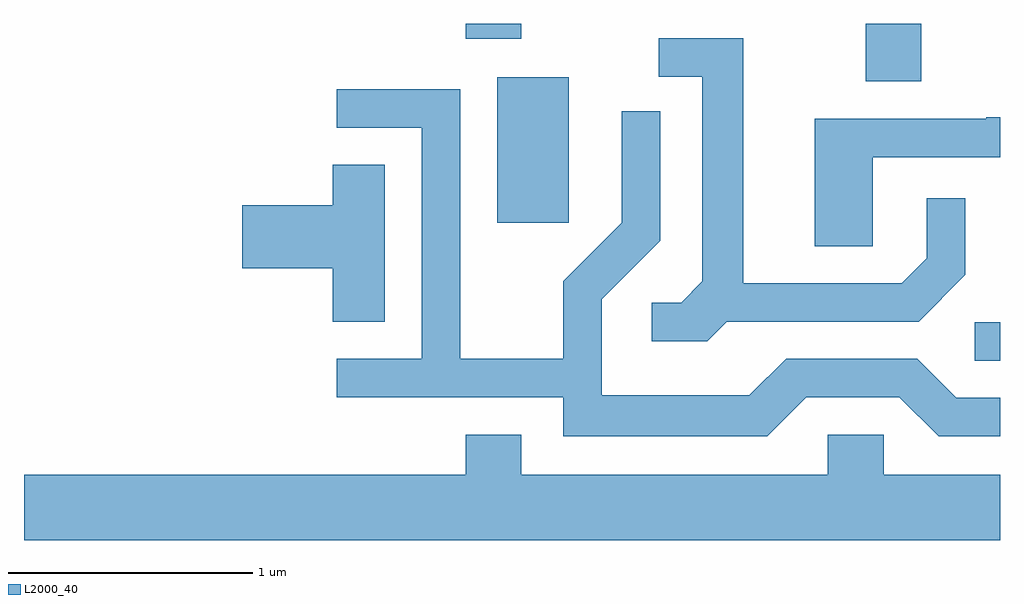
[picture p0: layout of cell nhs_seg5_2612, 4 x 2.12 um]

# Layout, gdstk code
import gdstk
lib = gdstk.Library(unit=1e-6, precision=1e-09)
def R(c, l, rs):  # rectangles x0, y0, x1, y1
    for r in rs: c.add(gdstk.rectangle(r[:2], r[2:], *l))
def P(c, l, *ps):  # polygons
    for p in ps: c.add(gdstk.Polygon(p, *l))
L2000_40 = (2000, 40)

nhs_seg5_2612 = lib.new_cell('nhs_seg5_2612')
R(nhs_seg5_2612, L2000_40, [(267.508,1408.691,267.611,1408.849), (265.551,1409.256,265.844,1409.854), (267.061,1409.836,267.289,1410.072), (265.421,1410.011,265.649,1410.072)])
P(nhs_seg5_2612, L2000_40, [(266.492,1408.851),(267.277,1408.851),(267.469,1409.044),(267.469,1409.358),(267.311,1409.358),(267.311,1409.112),(267.209,1409.009),(266.559,1409.009),(266.559,1410.014),(266.213,1410.014),(266.213,1409.856),(266.391,1409.856),(266.391,1409.017),(266.304,1408.929),(266.183,1408.929),(266.183,1408.771),(266.412,1408.771)],
  [(266.817,1408.541),(267.199,1408.541),(267.359,1408.381),(267.611,1408.381),(267.611,1408.539),(267.432,1408.539),(267.272,1408.699),(266.734,1408.699),(266.584,1408.549),(265.979,1408.549),(265.979,1408.944),(266.219,1409.184),(266.219,1409.713),(266.061,1409.713),(266.061,1409.257),(265.821,1409.017),(265.821,1408.699),(265.399,1408.699),(265.399,1409.804),(264.893,1409.804),(264.893,1409.646),(265.241,1409.646),(265.241,1408.699),(264.893,1408.699),(264.893,1408.541),(265.821,1408.541),(265.821,1408.381),(266.657,1408.381)],
  [(267.089,1409.526),(267.611,1409.526),(267.611,1409.689),(267.555,1409.689),(267.555,1409.684),(266.851,1409.684),(266.851,1409.161),(267.089,1409.161)],
  [(265.089,1409.494),(264.876,1409.494),(264.876,1409.329),(264.506,1409.329),(264.506,1409.071),(264.876,1409.071),(264.876,1408.851),(265.089,1408.851)],
  [(267.611,1408.224),(267.134,1408.224),(267.134,1408.389),(266.906,1408.389),(266.906,1408.224),(265.649,1408.224),(265.649,1408.389),(265.421,1408.389),(265.421,1408.224),(263.611,1408.224),(263.611,1407.956),(267.611,1407.956)])

lib.write_gds('nhs_seg5_2612.gds')
